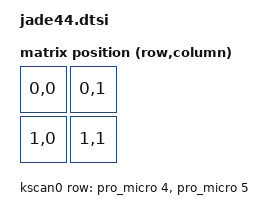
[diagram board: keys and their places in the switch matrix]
#include <dt-bindings/zmk/matrix_transform.h>

/ {
  chosen {
    zmk,kscan = &kscan0;
    zmk,physical-layout = &physical_layout0;
  };
  
  default_transform: keymap_transform_0 {
    compatible = "zmk,matrix-transform";
    columns = <2>;
    rows = <2>;

    map = <
      RC(0,0) RC(0,1)
      RC(1,0) RC(1,1)
    >;
  };

  kscan0: kscan {
      compatible = "zmk,kscan-gpio-matrix";
      label = "default_kscan";
      diode-direction = "col2row";
      wakeup-source;

      row-gpios
        = <&pro_micro 4 (GPIO_ACTIVE_HIGH | GPIO_PULL_DOWN)>
        , <&pro_micro 5 (GPIO_ACTIVE_HIGH | GPIO_PULL_DOWN)>
        ;
  };

  physical_layout0: physical_layout_0 {
    compatible = "zmk,physical-layout";
    display-name = "Default Layout";
    kscan = <&kscan0>;
    transform = <&default_transform>;
  };
};
